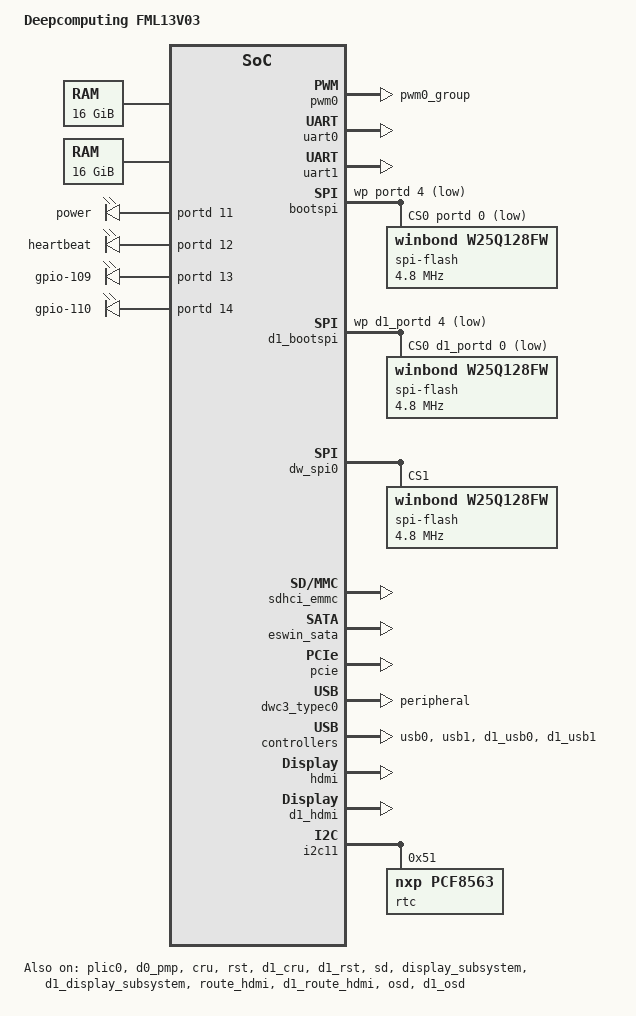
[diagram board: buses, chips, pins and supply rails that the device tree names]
// SPDX-License-Identifier: GPL-2.0
/*
 * Device Tree file for Eswin EIC7700 SoC.
 *
 * Copyright 2024, Beijing ESWIN Computing Technology Co., Ltd.. All rights reserved.
 * SPDX-License-Identifier: GPL-2.0
 *
 * This program is free software: you can redistribute it and/or modify
 * it under the terms of the GNU General Public License as published by
 * the Free Software Foundation, version 2.
 *
 * This program is distributed in the hope that it will be useful,
 * but WITHOUT ANY WARRANTY; without even the implied warranty of
 * MERCHANTABILITY or FITNESS FOR A PARTICULAR PURPOSE.  See the
 * GNU General Public License for more details.
 *
 * You should have received a copy of the GNU General Public License
 * along with this program.  If not, see <https://www.gnu.org/licenses/>.
 */

#include <dt-bindings/gpio/gpio.h>
#include <dt-bindings/soc/eswin-pmp.h>
#include "eic770x.dtsi"
#include "dt-bindings/media/eswin_mipi_dsi.h"
#include "media_bus_format.h"
/ {
	#address-cells = <2>;
	#size-cells = <2>;
	model = "Deepcomputing FML13V03";

	aliases {
		serial0 = &uart0;
		i2c0 = &i2c0;
		i2c1 = &i2c1;
		i2c2 = &i2c2;
		i2c3 = &i2c3;
		i2c4 = &i2c4;
		i2c5 = &i2c5;
		i2c6 = &i2c6;
		i2c7 = &i2c7;
		i2c8 = &i2c8;
		i2c9 = &i2c9;
		i2c11 = &i2c11;
		i2c12 = &i2c12;
		gpio0 = &gpio0;
		spi0 = &bootspi;
		spi1 = &dw_spi0;
		spi2 = &d1_bootspi;
	};

	chosen {
		stdout-path = "serial0";
	};

	memory@80000000 {
		device_type = "memory";
		reg = <0x0 0x80000000 0x4 0x00000000>;
		numa-node-id = <0>;
	};

	memory@2000000000 {
		device_type = "memory";
		reg = <0x20 0x00000000 0x4 0x00000000>;
		numa-node-id = <1>;
	};

	reserved-memory {
		#address-cells = <2>;
		#size-cells = <2>;
		ranges;

		display_reserved: region@E0000000 {
			reg = <0x0 0xE0000000 0x0 0x2000000>;
			no-map;
		};

		lpcpu_reserved: lpcpures@DFFE0000 {
			reg = <0x00 0xDFFE0000 0x00 0x00020000>;
			no-map;
		};

		d1_display_reserved: region@20e0000000 {
			reg = <0x20 0xE0000000 0x0 0x2000000>;
			no-map;
		};
	};

	soc {
		#address-cells = <2>;
		#size-cells = <2>;
		compatible = "SiFive,FU800-soc", "fu800-soc", "sifive-soc", "simple-bus";
		ranges;

		pwm0: pwm@50818000 {
			compatible = "eswin,pwm-eswin";
			#pwm-cells = <3>;
			reg = <0x0 0x50818000 0x0 0x4000>;
			clock-names = "pclk";
			clocks = <&spiclk>;
			pinctrl-names = "default";
			pinctrl-0 = <&pinctrl_pwm0_default>;
			status = "okay";
		};
	};

	leds {
		compatible = "gpio-leds";
		pinctrl-names = "default";
		pinctrl-0 = <&pinctrl_gpio6_default &pinctrl_gpio107_default &pinctrl_gpio108_default &pinctrl_gpio109_default>;

		gpio-107 {
			gpios = <&portd 11 GPIO_ACTIVE_HIGH>;
			label = "power";
			linux,default-trigger = "default-on";
		};

		gpio-108 {
			gpios = <&portd 12 GPIO_ACTIVE_HIGH>;
			label = "heartbeat";
			linux,default-trigger = "heartbeat";
		};

		gpio-109 {
			gpios = <&portd 13 GPIO_ACTIVE_HIGH>;
			label = "gpio-109";
			linux,default-trigger = "default-off";
		};

		gpio-110 {
			gpios = <&portd 14 GPIO_ACTIVE_HIGH>;
			label = "gpio-110";
			linux,default-trigger = "default-off";
		};
	};

};
&cpu0 {
	status = "okay";
};
&cpu1 {
	status = "okay";
};
&cpu2 {
	status = "okay";
};
&cpu3 {
	status = "okay";
};
&cpu4 {
	status = "okay";
};
&cpu5 {
	status = "okay";
};
&cpu6 {
	status = "okay";
};
&cpu7 {
	status = "okay";
};
&plic0{
	status = "okay";
};
&d0_mbox {
	status = "okay";
};
&d0_mbox_srvc {
	status = "okay";
};
&d0_mbox1 {
	status = "okay";
};
&d0_mbox_srvc1 {
	status = "okay";
};
&d1_mbox1 {
	status = "okay";
};
&d1_mbox_srvc1 {
	status = "okay";
};
&d0_pmp {
	status = "okay";
};
&uart0 {
	status = "okay";
};
&uart1 {
	status = "okay";
};
&cru {
	status = "okay";
};
&rst {
	status = "okay";
};
&d1_cru {
	status = "okay";
};
&d1_rst {
	status = "okay";
};
&bootspi {
	status = "okay";
	cs-gpios = <&portd 0 GPIO_ACTIVE_LOW>;
	wp-gpios = <&portd 4 GPIO_ACTIVE_LOW>;
	spi-flash@0 {
		reg = <0>;
		compatible = "winbond,w25q128fw",
			"jedec,spi-nor";
		spi-max-frequency = <4800000>;
	};
};

&d1_bootspi{
	status = "okay";
	cs-gpios = <&d1_portd 0 GPIO_ACTIVE_LOW>;
	wp-gpios = <&d1_portd 4 GPIO_ACTIVE_LOW>;
	spi-flash@0 {
		reg = <0>;
		compatible = "winbond,w25q128fw",
			"jedec,spi-nor";
		spi-max-frequency = <4800000>;
	};
};

&dw_spi0 {
	status = "okay";
	spi-flash@1 {
		reg = <1>;
		compatible = "winbond,w25q128fw",
			"jedec,spi-nor";
		spi-max-frequency = <4800000>;
	};
};

&sdhci_emmc {
	status = "okay";
	delay_code = <0x3c>;
	drive-impedance-ohm = <50>;
	enable-cmd-pullup;
	enable-data-pullup;
	mmc-hs200-1_8v;
	mmc-hs400-1_8v;
};

&sd {
	status = "okay";
	delay_code = <0x55>;
	drive-impedance-ohm = <33>;
	disable-wp;
	enable-cmd-pullup;
	enable-data-pullup;
};

&d1_sdhci_emmc {
	status = "disabled";
	delay_code = <0x55>;
	drive-impedance-ohm = <50>;
	enable-cmd-pullup;
	enable-data-pullup;
	mmc-hs200-1_8v;
	mmc-hs400-1_8v;
};

&eswin_sata {
	status = "okay";
};

&eth0 {
	status = "disabled";
};

&eth1 {
	status = "disabled";
};

&pcie {
	status = "okay";
};
&display_logo {
	status = "disabled";
};
&mipi_dsi {
	status = "disabled";
	panel {
		#address-cells = <1>;
		#size-cells = <0>;
		compatible = "simple-panel-dsi";
		reg = <0>;
		status = "disabled";
		pinctrl-names = "default";
		pinctrl-0 = <&pinctrl_gpio7_default &pinctrl_gpio111_default>;
		backlight-gpios = <&porta 7 GPIO_ACTIVE_LOW>;
		rst-gpios = <&portd 15 GPIO_ACTIVE_LOW>;
	};
};
&d1_mipi_dsi {
	status = "disabled";
};
&dwc3_typec0 {
		status = "okay";
		dr_mode = "peripheral";
		maximum-speed = "super-speed";
};
&usb0 {
	status = "okay";
};
&usb1 {
	status = "okay";
};
&d1_usb0 {
	status = "okay";
};
&d1_usb1 {
	status = "okay";
};

&hdmi {
	status = "okay";
};
&d1_hdmi {
	status = "okay";
};
&display_subsystem {
	status = "okay";
};
&d1_display_subsystem {
	double-screen = <1>;
	status = "okay";
};
&route_hdmi {
	status = "okay";
};
&d1_route_hdmi {
	status = "okay";
};
&route_mipi {
	status = "disabled";
};
&d1_route_mipi {
	status = "disabled";
};
&osd {
	status = "okay";
};
&d1_osd {
	status = "okay";
};
&i2c0 {
	status = "disabled";
};
&i2c2 {
	status = "disabled";
};
&i2c3 {
	status = "disabled";
};
&i2c11 {
	status = "okay";
	rtc@51 {
		compatible = "nxp,pcf8563";
		reg = <0x51>;
	};
};

/*
	gpio function unused
	group A: gpio1~6,12~15, 17~27, 29~31
	group B: gpio32~63
	group C: gpio64~93, 95
	group D: gpio96~105

	gpio0   : head phone plug/unplug detection0(I)
	gpio7   : led back light power on/off(O)
	gpio8   : dsi touch interrupt(I)
	gpio9   : pcie present(I)
	gpio10  : software define key input(I)
	gpio11  : head phone plug/unplug detection2(I)
	gpio16  : gphy1 resern(O)
	gpio28  : head phone plug/unplug detection1(I)
	gpio94  : gphy0 resern(O)
	gpio106 : pcie socket power on/off(O)
	gpio107 : tf card power on/off(O)
	gpio108 : system led0(O)
	gpio109 : system led1(O)
	gpio110 : system led2(O)
	gpio111 : mipi dsi resetn(O)
*/

&gpio0 {
	status = "okay";
};

&d1_gpio {
	status = "okay";
};

&pinctrl {
	status = "okay";

	pinctrl_pwm0_default: pwm0-default {
		mux {
			groups = "pwm0_group";
			function = "pwm0_func";
		};
		conf {
			groups = "pwm0_group";
			input-enable = <0>;
			bias-pull-down = <1>;
			drive-strength = <2>;
		};
    };
};

&d1_pinctrl {
	status = "okay";
};
